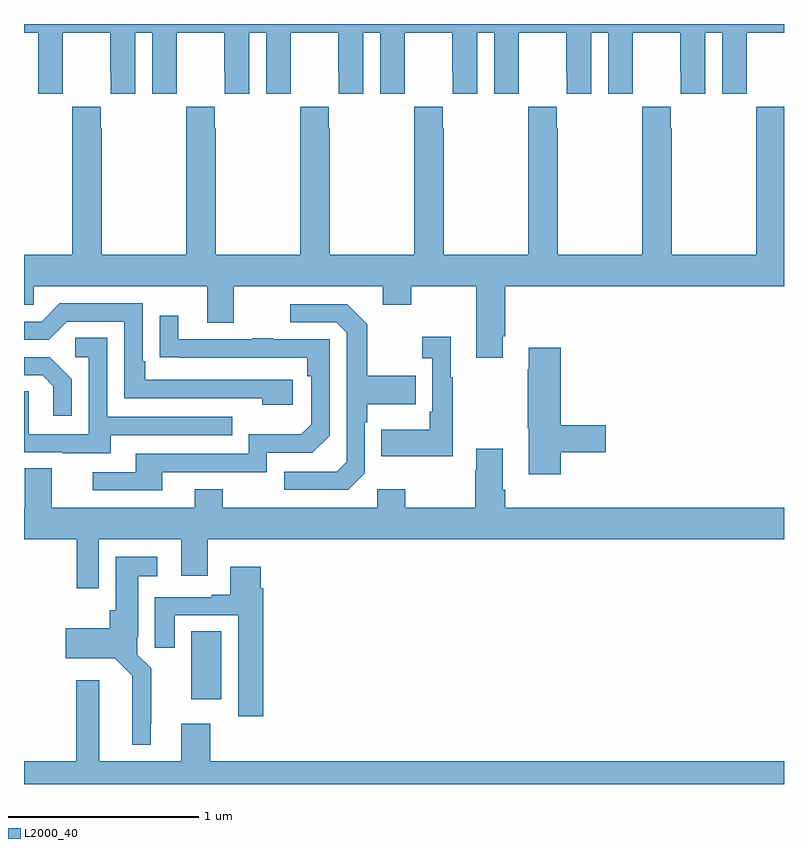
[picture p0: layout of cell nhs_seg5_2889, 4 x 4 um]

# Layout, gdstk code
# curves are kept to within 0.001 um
import gdstk
lib = gdstk.Library(unit=1e-6, precision=1e-09)
def R(c, l, rs):  # rectangles x0, y0, x1, y1
    for r in rs: c.add(gdstk.rectangle(r[:2], r[2:], *l))
def P(c, l, *ps):  # polygons
    for p in ps: c.add(gdstk.Polygon(p, *l))
L2000_40 = (2000, 40)

nhs_seg5_2889 = lib.new_cell('nhs_seg5_2889')
R(nhs_seg5_2889, L2000_40, [(279.881,861.246,280.039,861.602)])
P(nhs_seg5_2889, L2000_40, [(279,864.752),(279.074,864.752),(279.074,864.432),(279.204,864.432),(279.204,864.544),(279.205,864.544),(279.205,864.752),(279.455,864.752),(279.455,864.544),(279.456,864.544),(279.456,864.432),(279.586,864.432),(279.586,864.752),(279.674,864.752),(279.674,864.432),(279.804,864.432),(279.804,864.544),(279.805,864.544),(279.805,864.752),(280.055,864.752),(280.055,864.544),(280.056,864.544),(280.056,864.432),(280.186,864.432),(280.186,864.752),(280.274,864.752),(280.274,864.432),(280.404,864.432),(280.404,864.544),(280.405,864.544),(280.405,864.752),(280.655,864.752),(280.655,864.544),(280.656,864.544),(280.656,864.432),(280.786,864.432),(280.786,864.752),(280.874,864.752),(280.874,864.432),(281.004,864.432),(281.004,864.544),(281.005,864.544),(281.005,864.752),(281.255,864.752),(281.255,864.544),(281.256,864.544),(281.256,864.432),(281.386,864.432),(281.386,864.752),(281.474,864.752),(281.474,864.432),(281.604,864.432),(281.604,864.544),(281.605,864.544),(281.605,864.752),(281.855,864.752),(281.855,864.544),(281.856,864.544),(281.856,864.432),(281.986,864.432),(281.986,864.752),(282.074,864.752),(282.074,864.432),(282.204,864.432),(282.204,864.544),(282.205,864.544),(282.205,864.752),(282.455,864.752),(282.455,864.544),(282.456,864.544),(282.456,864.432),(282.586,864.432),(282.586,864.752),(282.674,864.752),(282.674,864.432),(282.804,864.432),(282.804,864.544),(282.805,864.544),(282.805,864.752),(283,864.752),(283,864.799),(279,864.799)],
  [(281.521,863.155),(281.534,863.155),(281.534,863.42),(283,863.42),(283,864.364),(282.855,864.364),(282.855,864.251),(282.853,864.251),(282.853,863.584),(282.408,863.584),(282.408,864.251),(282.405,864.251),(282.405,864.364),(282.255,864.364),(282.255,864.251),(282.253,864.251),(282.253,863.584),(281.808,863.584),(281.808,864.251),(281.805,864.251),(281.805,864.364),(281.655,864.364),(281.655,864.251),(281.653,864.251),(281.653,863.584),(281.208,863.584),(281.208,864.251),(281.205,864.251),(281.205,864.364),(281.055,864.364),(281.055,864.251),(281.053,864.251),(281.053,863.584),(280.608,863.584),(280.608,864.251),(280.605,864.251),(280.605,864.364),(280.455,864.364),(280.455,864.251),(280.453,864.251),(280.453,863.584),(280.008,863.584),(280.008,864.251),(280.005,864.251),(280.005,864.364),(279.855,864.364),(279.855,864.251),(279.853,864.251),(279.853,863.584),(279.408,863.584),(279.408,864.251),(279.405,864.251),(279.405,864.364),(279.255,864.364),(279.255,864.251),(279.253,864.251),(279.253,863.584),(279,863.584),(279,863.322),(279.051,863.322),(279.051,863.42),(279.965,863.42),(279.965,863.226),(280.105,863.226),(280.105,863.42),(280.889,863.42),(280.889,863.321),(281.037,863.321),(281.037,863.42),(281.381,863.42),(281.381,863.043),(281.521,863.043)],
  [(280.414,862.926),(279.637,862.926),(279.637,863.023),(279.624,863.023),(279.624,863.328),(279.189,863.328),(279.093,863.232),(279,863.232),(279,863.136),(279.129,863.136),(279.225,863.232),(279.528,863.232),(279.528,862.83),(280.253,862.83),(280.253,862.796),(280.414,862.796)],
  [(280.794,862.434),(280.794,862.703),(280.807,862.703),(280.807,862.799),(281.063,862.799),(281.063,862.947),(280.807,862.947),(280.807,863.219),(280.701,863.325),(280.401,863.325),(280.401,863.229),(280.644,863.229),(280.698,863.175),(280.698,862.494),(280.647,862.443),(280.371,862.443),(280.371,862.347),(280.707,862.347)],
  [(279.727,862.44),(280.278,862.44),(280.278,862.542),(280.518,862.542),(280.608,862.632),(280.608,863.139),(280.313,863.139),(280.313,863.144),(280.201,863.144),(280.201,863.139),(279.811,863.139),(279.811,863.263),(279.715,863.263),(279.715,863.044),(280.492,863.043),(280.492,862.946),(280.512,862.946),(280.512,862.692),(280.459,862.639),(280.182,862.639),(280.182,862.536),(279.587,862.536),(279.587,862.44),(279.363,862.44),(279.363,862.344),(279.727,862.344)],
  [(281.257,862.939),(281.245,862.939),(281.245,863.152),(281.097,863.152),(281.097,863.039),(281.148,863.039),(281.148,862.759),(281.136,862.759),(281.136,862.663),(280.879,862.663),(280.879,862.523),(281.257,862.523)],
  [(279.457,862.635),(280.097,862.635),(280.097,862.731),(279.438,862.731),(279.438,863.147),(279.27,863.147),(279.27,863.046),(279.342,863.046),(279.342,862.641),(279.024,862.641),(279.024,862.865),(279,862.865),(279,862.545),(279.203,862.545),(279.203,862.541),(279.457,862.541)],
  [(281.825,862.546),(282.061,862.546),(282.061,862.688),(281.825,862.688),(281.825,863.095),(281.657,863.095),(281.657,862.982),(281.65,862.982),(281.65,862.671),(281.657,862.671),(281.657,862.428),(281.825,862.428)],
  [(279.252,862.93),(279.136,863.046),(279,863.046),(279,862.95),(279.098,862.95),(279.155,862.893),(279.155,862.737),(279.252,862.737)],
  [(279.393,862.088),(279.827,862.088),(279.827,861.894),(279.967,861.894),(279.967,862.088),(283,862.088),(283,862.252),(281.534,862.252),(281.534,862.348),(281.521,862.348),(281.521,862.564),(281.381,862.564),(281.381,862.451),(281.374,862.451),(281.374,862.252),(281.007,862.252),(281.007,862.351),(280.86,862.351),(280.86,862.252),(280.047,862.252),(280.047,862.351),(279.899,862.351),(279.899,862.252),(279.145,862.252),(279.145,862.46),(279.005,862.46),(279.005,862.252),(279,862.252),(279,862.088),(279.277,862.088),(279.277,861.828),(279.393,861.828)],
  [(279.667,861.115),(279.67,861.115),(279.67,861.407),(279.597,861.48),(279.597,861.574),(279.601,861.574),(279.601,861.893),(279.7,861.893),(279.7,861.994),(279.482,861.994),(279.482,861.714),(279.452,861.714),(279.452,861.619),(279.219,861.619),(279.219,861.461),(279.477,861.461),(279.57,861.368),(279.569,861.005),(279.667,861.005)],
  [(280.259,861.83),(280.246,861.83),(280.246,861.943),(280.085,861.943),(280.085,861.796),(279.989,861.796),(279.989,861.783),(279.689,861.783),(279.689,861.516),(279.793,861.516),(279.793,861.687),(280.127,861.687),(280.127,861.156),(280.259,861.156)],
  [(283,860.92),(279.98,860.92),(279.98,861.115),(279.827,861.115),(279.827,860.92),(279.397,860.92),(279.397,861.346),(279.275,861.346),(279.275,860.92),(279,860.92),(279,860.799),(283,860.799)])

lib.write_gds('nhs_seg5_2889.gds')
